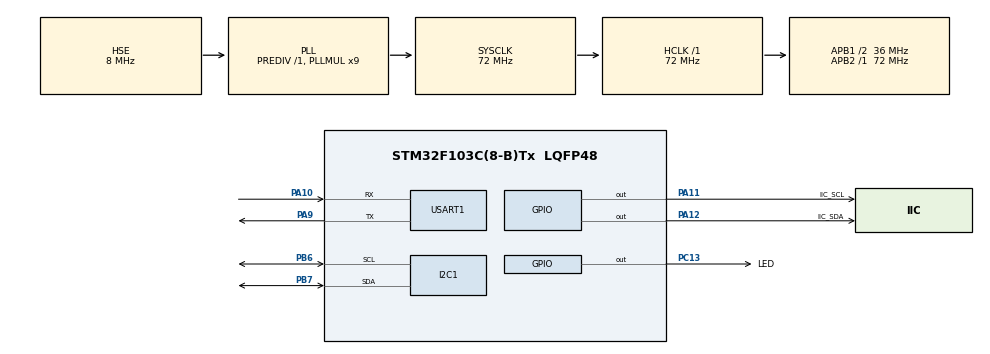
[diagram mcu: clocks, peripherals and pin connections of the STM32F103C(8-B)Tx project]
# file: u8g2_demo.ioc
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I2C1.I2C_Mode=I2C_Fast
I2C1.OwnAddress=10
Mcu.Family=STM32F1
Mcu.Name=STM32F103C(8-B)Tx
Mcu.Package=LQFP48
NVIC.PriorityGroup=NVIC_PRIORITYGROUP_4
NVIC.USART1_IRQn=true\:0\:0\:false\:false\:true\:true\:true\:true
PA0-WKUP.Mode=SYS_WakeUp0
PA0-WKUP.Signal=SYS_WKUP
PA10.Mode=Asynchronous
PA10.Signal=USART1_RX
PA11.GPIO_Label=IIC_SCL
PA11.Signal=GPIO_Output
PA12.GPIO_Label=IIC_SDA
PA12.Signal=GPIO_Output
PA13.Mode=Serial_Wire
PA13.Signal=SYS_JTMS-SWDIO
PA14.Mode=Serial_Wire
PA14.Signal=SYS_JTCK-SWCLK
PA9.Mode=Asynchronous
PA9.Signal=USART1_TX
PB6.Mode=I2C
PB6.Signal=I2C1_SCL
PB7.Mode=I2C
PB7.Signal=I2C1_SDA
PC13-TAMPER-RTC.GPIO_Label=LED
PC13-TAMPER-RTC.Signal=GPIO_Output
PD0-OSC_IN.Mode=HSE-External-Oscillator
PD0-OSC_IN.Signal=RCC_OSC_IN
PD1-OSC_OUT.Mode=HSE-External-Oscillator
PD1-OSC_OUT.Signal=RCC_OSC_OUT
ProjectManager.HeapSize=0x200
ProjectManager.StackSize=0x400
ProjectManager.TargetToolchain=Makefile
RCC.AHBFreq_Value=72000000
RCC.APB1CLKDivider=RCC_HCLK_DIV2
RCC.APB1Freq_Value=36000000
RCC.APB1TimFreq_Value=72000000
RCC.APB2Freq_Value=72000000
RCC.APB2TimFreq_Value=72000000
RCC.HCLKFreq_Value=72000000
RCC.PLLMUL=RCC_PLL_MUL9
RCC.PLLSourceVirtual=RCC_PLLSOURCE_HSE
RCC.SYSCLKFreq_VALUE=72000000
RCC.SYSCLKSource=RCC_SYSCLKSOURCE_PLLCLK
RCC.USBFreq_Value=72000000
USART1.VirtualMode=VM_ASYNC
board=custom

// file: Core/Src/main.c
/* USER CODE BEGIN Header */
/**
  ******************************************************************************
  * @file           : main.c
  * @brief          : Main program body
  ******************************************************************************
  * @attention
  *
  * Copyright (c) 2024 STMicroelectronics.
  * All rights reserved.
  *
  * This software is licensed under terms that can be found in the LICENSE file
  * in the root directory of this software component.
  * If no LICENSE file comes with this software, it is provided AS-IS.
  *
  ******************************************************************************
  */
/* USER CODE END Header */
#include "main.h"
#include "i2c.h"
#include "usart.h"
#include "gpio.h"

/* USER CODE BEGIN Includes */
#include "u8g2.h"
#include <stdio.h>
#include "ds3231.h"
/* USER CODE END Includes */

void SystemClock_Config(void);

/* USER CODE BEGIN 0 */
#define SYSTICKCLOCK 80000000ULL
#define SYSTICKPERUS (SYSTICKCLOCK / 1000000UL)

static void inline __attribute__((always_inline)) delayus(unsigned delay)
{
    uint32_t ticks = SYSTICKPERUS * delay;
    uint32_t start_tick = SysTick -> VAL;

    while(SysTick -> VAL - start_tick < ticks);
}

uint8_t u8g2_gpio_and_delay_stm32(U8X8_UNUSED u8x8_t *u8x8, U8X8_UNUSED uint8_t msg, U8X8_UNUSED uint8_t arg_int, U8X8_UNUSED void *arg_ptr)
{
	switch(msg){
		//Initialize SPI peripheral
		case U8X8_MSG_GPIO_AND_DELAY_INIT:
			/* HAL initialization contains all what we need so we can skip this part. */

		break;

		//Function which implements a delay, arg_int contains the amount of ms
		case U8X8_MSG_DELAY_MILLI:
		HAL_Delay(arg_int);

		break;
		//Function which delays 10us
		case U8X8_MSG_DELAY_10MICRO:
		// for (uint16_t n = 0; n < 320; n++)
		// {
		// 	__NOP();
		// }
    delayus(10);
		break;
		//Function which delays 100ns
		case U8X8_MSG_DELAY_100NANO:
		__NOP();

		break;
		case U8X8_MSG_GPIO_I2C_CLOCK:
				if (arg_int) HAL_GPIO_WritePin(IIC_SCL_GPIO_Port, IIC_SCL_Pin, GPIO_PIN_SET);
        else HAL_GPIO_WritePin(IIC_SCL_GPIO_Port, IIC_SCL_Pin, GPIO_PIN_RESET);
			break;
			case U8X8_MSG_GPIO_I2C_DATA:
				if (arg_int) HAL_GPIO_WritePin(IIC_SDA_GPIO_Port, IIC_SDA_Pin, GPIO_PIN_SET);
        else HAL_GPIO_WritePin(IIC_SDA_GPIO_Port, IIC_SDA_Pin, GPIO_PIN_RESET);
			break;
		default:
			return 0; //A message was received which is not implemented, return 0 to indicate an error
	}

	return 1; // command processed successfully.
}

/* 画U8g2 Log */
static void draw(u8g2_t *u8g2)
{
	  u8g2_ClearBuffer(u8g2);
    u8g2_SetFontMode(u8g2, 1);
    u8g2_SetFontDirection(u8g2, 0);
    u8g2_SetFont(u8g2, u8g2_font_inb24_mf);
    u8g2_DrawStr(u8g2, 0, 20, "U");

    u8g2_SetFontDirection(u8g2, 1);
    u8g2_SetFont(u8g2, u8g2_font_inb30_mn);
    u8g2_DrawStr(u8g2, 21,8,"8");

    u8g2_SetFontDirection(u8g2, 0);
    u8g2_SetFont(u8g2, u8g2_font_inb24_mf);
    u8g2_DrawStr(u8g2, 51,30,"g");
    u8g2_DrawStr(u8g2, 67,30,"\xb2");

    u8g2_DrawHLine(u8g2, 2, 35, 47);
    u8g2_DrawHLine(u8g2, 3, 36, 47);
    u8g2_DrawVLine(u8g2, 45, 32, 12);
    u8g2_DrawVLine(u8g2, 46, 33, 12);

    u8g2_SetFont(u8g2, u8g2_font_4x6_tr);
    u8g2_DrawStr(u8g2, 1,54,"u8g2 test");
	u8g2_SendBuffer(u8g2);
	HAL_Delay(1000);
}
/* USER CODE END 0 */

int main(void)
{

  /* MCU Configuration--------------------------------------------------------*/

  /* Reset of all peripherals, Initializes the Flash interface and the Systick. */
  HAL_Init();

  /* USER CODE BEGIN Init */
  u8g2_t u8g2;
  /* USER CODE END Init */

  /* Configure the system clock */
  SystemClock_Config();

  /* Initialize all configured peripherals */
  MX_GPIO_Init();
  MX_USART1_UART_Init();
  MX_I2C1_Init();
  /* USER CODE BEGIN 2 */
  DS3231_Init(&hi2c1);
  DS3231_SetRateSelect(DS3231_1HZ);
  // DS3231_SetFullTime(8, 0, 0);
  // DS3231_SetFullDate(1, 8, 4, 2024);
  /* U8g2的初始化 */
  u8g2_Setup_ssd1306_i2c_128x64_noname_f(&u8g2, U8G2_R0, u8x8_byte_sw_i2c,
                                         u8g2_gpio_and_delay_stm32);
  u8g2_InitDisplay(&u8g2);  // send init sequence to the display, display is in
                            // sleep mode after this,
  u8g2_SetPowerSave(&u8g2, 0);  // wake up display
  u8g2_ClearBuffer(&u8g2);
  HAL_Delay(1000);

  draw(&u8g2);
  /* USER CODE END 2 */

  /* Infinite loop */
  while (1)
  {

    /* USER CODE BEGIN 3 */
    HAL_GPIO_TogglePin(LED_GPIO_Port, LED_Pin);
    uint8_t sec = DS3231_GetSecond();
    uint8_t min = DS3231_GetMinute();
    uint8_t hour = DS3231_GetHour();
    uint8_t day = DS3231_GetDate();
    uint8_t month = DS3231_GetMonth();
    uint16_t year = DS3231_GetYear();
    // printf("Time: %02d:%02d:%02d, Date: %02d/%02d/%04d\r\n", hour, min, sec, day, month, year);

    u8g2_ClearBuffer(&u8g2);
    u8g2_SetFont(&u8g2, u8g2_font_8x13_tr);
    // 将时间显示在屏幕上
    char date[20], time[20];
    sprintf(date, "%04d-%02d-%02d", year, month, day);
    sprintf(time, "%02d:%02d:%02d", hour, min, sec);
    // 画个矩形框把时间显示在里面
    u8g2_DrawFrame(&u8g2, 0, 0, 128, 64);
    // 居中显示
    u8g2_DrawStr(&u8g2, (128 - u8g2_GetStrWidth(&u8g2, date)) / 2, 20, date);
    u8g2_DrawStr(&u8g2, (128 - u8g2_GetStrWidth(&u8g2, time)) / 2, 40, time);
    u8g2_SendBuffer(&u8g2);

    // uint16_t x = 0;
    // uint8_t y = 10;
    // for (uint8_t i = 32; i < 128; i++) {
    //   u8g2_DrawGlyph(&u8g2, x, y, i);
    //   x += 6;
    //   if (x >= 128) {
    //     x = 0;
    //     y += 10;
    //   }
    //   u8g2_SendBuffer(&u8g2);
    // }

    HAL_Delay(1000);
  }
  /* USER CODE END 3 */
}

void SystemClock_Config(void)
{
  RCC_OscInitTypeDef RCC_OscInitStruct = {0};
  RCC_ClkInitTypeDef RCC_ClkInitStruct = {0};

  /** Initializes the RCC Oscillators according to the specified parameters
  * in the RCC_OscInitTypeDef structure.
  */
  RCC_OscInitStruct.OscillatorType = RCC_OSCILLATORTYPE_HSE;
  RCC_OscInitStruct.HSEState = RCC_HSE_ON;
  RCC_OscInitStruct.HSEPredivValue = RCC_HSE_PREDIV_DIV1;
  RCC_OscInitStruct.HSIState = RCC_HSI_ON;
  RCC_OscInitStruct.PLL.PLLState = RCC_PLL_ON;
  RCC_OscInitStruct.PLL.PLLSource = RCC_PLLSOURCE_HSE;
  RCC_OscInitStruct.PLL.PLLMUL = RCC_PLL_MUL9;
  if (HAL_RCC_OscConfig(&RCC_OscInitStruct) != HAL_OK)
  {
    Error_Handler();
  }

  /** Initializes the CPU, AHB and APB buses clocks
  */
  RCC_ClkInitStruct.ClockType = RCC_CLOCKTYPE_HCLK|RCC_CLOCKTYPE_SYSCLK
                              |RCC_CLOCKTYPE_PCLK1|RCC_CLOCKTYPE_PCLK2;
  RCC_ClkInitStruct.SYSCLKSource = RCC_SYSCLKSOURCE_PLLCLK;
  RCC_ClkInitStruct.AHBCLKDivider = RCC_SYSCLK_DIV1;
  RCC_ClkInitStruct.APB1CLKDivider = RCC_HCLK_DIV2;
  RCC_ClkInitStruct.APB2CLKDivider = RCC_HCLK_DIV1;

  if (HAL_RCC_ClockConfig(&RCC_ClkInitStruct, FLASH_LATENCY_2) != HAL_OK)
  {
    Error_Handler();
  }
}

void Error_Handler(void)
{
  __disable_irq();
  while (1)
  {
  }
}
